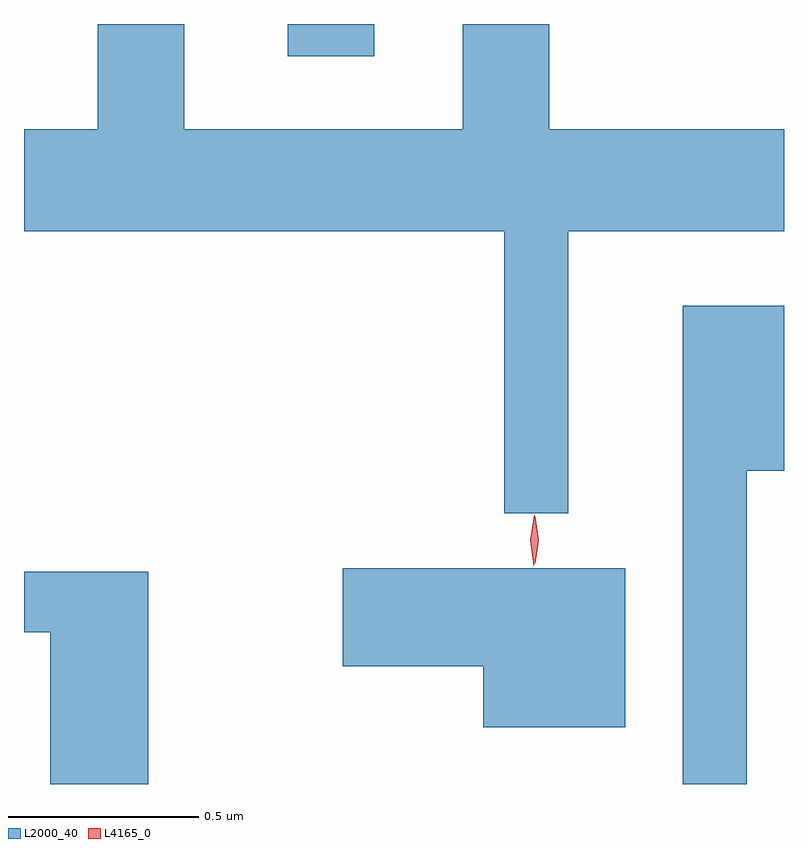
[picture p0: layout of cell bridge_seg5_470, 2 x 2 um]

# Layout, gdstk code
import gdstk
lib = gdstk.Library(unit=1e-6, precision=1e-09)
def R(c, l, rs):  # rectangles x0, y0, x1, y1
    for r in rs: c.add(gdstk.rectangle(r[:2], r[2:], *l))
def P(c, l, *ps):  # polygons
    for p in ps: c.add(gdstk.Polygon(p, *l))
L2000_40 = (2000, 40)
L4165_0 = (4165, 0)

bridge_seg5_470 = lib.new_cell('bridge_seg5_470')
R(bridge_seg5_470, L2000_40, [(308.391,1510.536,308.619,1510.621)])
P(bridge_seg5_470, L2000_40, [(309.129,1510.076),(309.697,1510.076),(309.697,1510.344),(309.079,1510.344),(309.079,1510.621),(308.851,1510.621),(308.851,1510.344),(308.119,1510.344),(308.119,1510.621),(307.891,1510.621),(307.891,1510.344),(307.697,1510.344),(307.697,1510.076),(308.961,1510.076),(308.961,1509.333),(309.129,1509.333)],
  [(309.599,1509.446),(309.697,1509.446),(309.697,1509.879),(309.431,1509.879),(309.431,1508.621),(309.599,1508.621)],
  [(309.279,1509.189),(308.536,1509.189),(308.536,1508.931),(308.906,1508.931),(308.906,1508.771),(309.279,1508.771)],
  [(308.024,1509.179),(307.697,1509.179),(307.697,1509.021),(307.766,1509.021),(307.766,1508.621),(308.024,1508.621)])
P(bridge_seg5_470, L4165_0, [(309.042,1509.2),(309.042,1509.2),(309.032,1509.263),(309.042,1509.326),(309.042,1509.327),(309.043,1509.326),(309.052,1509.263),(309.043,1509.2)],
  [(309.038,1509.194),(309.038,1509.194),(309.029,1509.262),(309.04,1509.33),(309.04,1509.33),(309.04,1509.33),(309.049,1509.262),(309.039,1509.194)])

lib.write_gds('bridge_seg5_470.gds')
